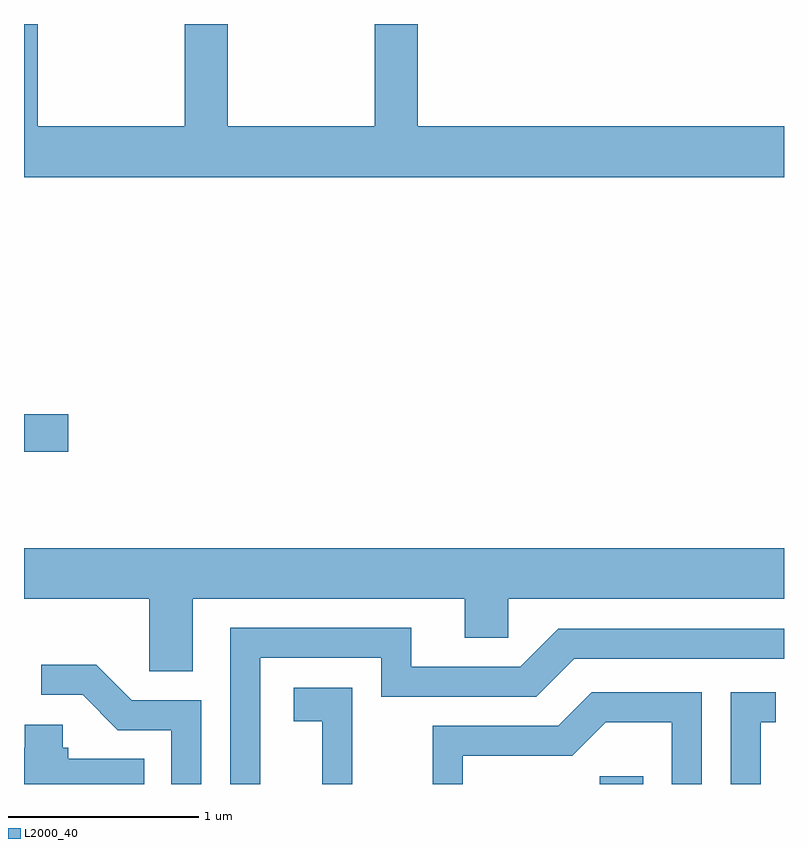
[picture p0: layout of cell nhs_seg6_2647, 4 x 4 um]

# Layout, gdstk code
import gdstk
lib = gdstk.Library(unit=1e-6, precision=1e-09)
def R(c, l, rs):  # rectangles x0, y0, x1, y1
    for r in rs: c.add(gdstk.rectangle(r[:2], r[2:], *l))
def P(c, l, *ps):  # polygons
    for p in ps: c.add(gdstk.Polygon(p, *l))
L2000_40 = (2000, 40)

nhs_seg6_2647 = lib.new_cell('nhs_seg6_2647')
R(nhs_seg6_2647, L2000_40, [(268.641,1560.162,268.869,1560.204), (265.611,1561.911,265.844,1562.109)])
P(nhs_seg6_2647, L2000_40, [(269.611,1563.624),(267.684,1563.624),(267.684,1564.162),(267.456,1564.162),(267.456,1563.624),(266.684,1563.624),(266.684,1564.162),(266.456,1564.162),(266.456,1563.624),(265.684,1563.624),(265.684,1564.162),(265.611,1564.162),(265.611,1563.356),(269.611,1563.356)],
  [(266.499,1561.136),(267.931,1561.136),(267.931,1560.931),(268.159,1560.931),(268.159,1561.136),(269.611,1561.136),(269.611,1561.404),(265.611,1561.404),(265.611,1561.136),(266.271,1561.136),(266.271,1560.756),(266.499,1560.756)],
  [(266.854,1560.826),(267.491,1560.826),(267.491,1560.621),(268.307,1560.621),(268.507,1560.821),(269.611,1560.821),(269.611,1560.979),(268.424,1560.979),(268.224,1560.779),(267.649,1560.779),(267.649,1560.984),(266.696,1560.984),(266.696,1560.162),(266.854,1560.162)],
  [(266.544,1560.604),(266.177,1560.604),(265.992,1560.789),(265.703,1560.789),(265.703,1560.631),(265.919,1560.631),(266.104,1560.446),(266.386,1560.446),(266.386,1560.162),(266.544,1560.162)],
  [(267.339,1560.669),(267.031,1560.669),(267.031,1560.491),(267.181,1560.491),(267.181,1560.162),(267.339,1560.162)],
  [(269.489,1560.486),(269.568,1560.486),(269.568,1560.644),(269.331,1560.644),(269.331,1560.162),(269.489,1560.162)],
  [(267.919,1560.311),(268.497,1560.311),(268.672,1560.486),(269.021,1560.486),(269.021,1560.162),(269.179,1560.162),(269.179,1560.644),(268.599,1560.644),(268.424,1560.469),(267.761,1560.469),(267.761,1560.162),(267.919,1560.162)],
  [(266.243,1560.294),(265.844,1560.294),(265.844,1560.354),(265.814,1560.354),(265.814,1560.474),(265.616,1560.474),(265.616,1560.354),(265.611,1560.354),(265.611,1560.162),(266.243,1560.162)])

lib.write_gds('nhs_seg6_2647.gds')
